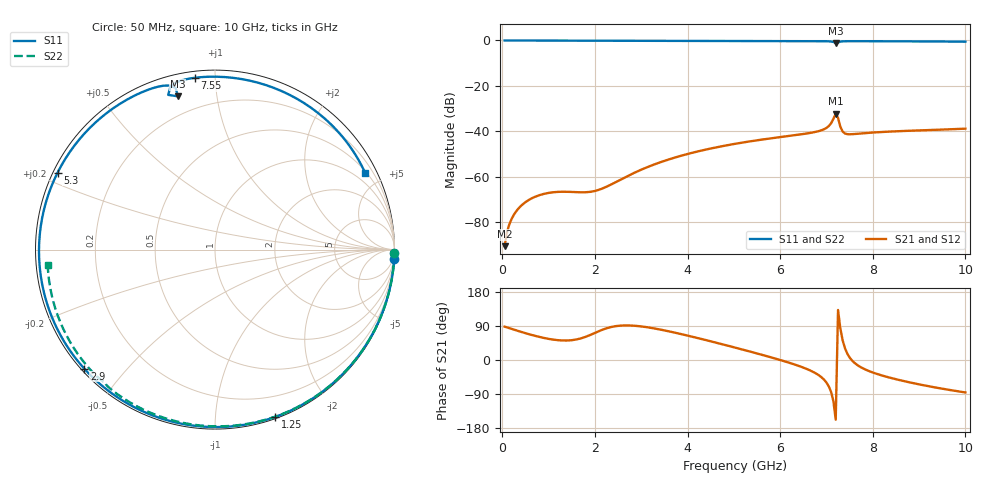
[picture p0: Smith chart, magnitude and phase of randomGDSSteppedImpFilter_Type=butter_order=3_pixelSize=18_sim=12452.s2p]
! freq	dB(S11)	phase(S11)	dB(S12)	phase(S12)
!  dB(S21)	phase(S21)	dB(S22)	phase(S22)
!S-par simulation data
#  GHz  S  DB  R 50
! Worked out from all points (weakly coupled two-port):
!   200 points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, 50 MHz to 10 GHz, reference 50 ohm
!   highest |S21| = -32.24 dB at 7.2 GHz (marker M1); lowest = -90.5 dB at 50 MHz (marker M2)
!   lowest |S11| = -1.1 dB at 7.2 GHz (marker M3), VSWR 15.47, Z = 5.22 + j39.1 ohm
!   |S11| at or under -10 dB: nowhere
!   |S22| runs from -0.6 to 0.0 dB; largest |S21 - S12| = 0
!   S11 on the Smith chart (normalised r, x): 50 MHz: 0, -38; 1.25 GHz: 0.01, -1.42; 2.9 GHz: 0.01, -0.39; 5.3 GHz: 0.01, +0.23; 7.55 GHz: 0.03, +0.89; 10 GHz: 0.57, +4.11
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0.05  -0.00 -3.0  -90.51 88.0  -90.51 88.0  -0.00 -1.0
0.15  -0.01 -9.0  -81.02 84.1  -81.02 84.1  -0.00 -3.0
0.35  -0.03 -20.8  -73.92 76.3  -73.92 76.3  -0.01 -7.0
0.6  -0.05 -35.3  -69.85 67.3  -69.85 67.3  -0.02 -12.0
1.25  -0.08 -70.1  -66.59 51.8  -66.59 51.8  -0.03 -24.9
1.75  -0.10 -93.6  -66.82 59.0  -66.82 59.0  -0.04 -34.7
2.15  -0.11 -110.3  -65.23 79.4  -65.23 79.4  -0.05 -42.4
2.9  -0.13 -137.7  -57.77 89.9  -57.77 89.9  -0.07 -56.5
3.4  -0.14 -153.7  -53.68 80.6  -53.68 80.6  -0.09 -65.6
4.2  -0.17 -176.8  -48.93 58.5  -48.93 58.5  -0.11 -79.8
5.05  -0.20 160.5  -45.40 32.0  -45.40 32.0  -0.15 -94.4
5.3  -0.21 154.0  -44.56 23.9  -44.56 23.9  -0.16 -98.6
6.7  -0.28 117.6  -40.50 -30.6  -40.50 -30.6  -0.24 -121.4
7.05  -0.38 107.4  -37.67 -69.6  -37.67 -69.6  -0.27 -127.2
7.2  -1.12 103.6  -32.24 -157.6  -32.24 -157.6  -0.36 -129.7
7.25  -0.91 106.8  -34.10 132.0  -34.10 132.0  -0.36 -129.9
7.3  -0.51 105.2  -37.98 82.9  -37.98 82.9  -0.32 -130.7
7.35  -0.39 103.2  -40.10 51.7  -40.10 51.7  -0.31 -131.5
7.55  -0.32 96.7  -41.25 -1.0  -41.25 -1.0  -0.31 -134.8
8.35  -0.36 74.2  -40.11 -46.0  -40.11 -46.0  -0.38 -147.6
9.15  -0.42 51.6  -39.47 -67.9  -39.47 -67.9  -0.47 -160.6
10  -0.55 26.9  -38.82 -85.6  -38.82 -85.6  -0.58 -174.8
